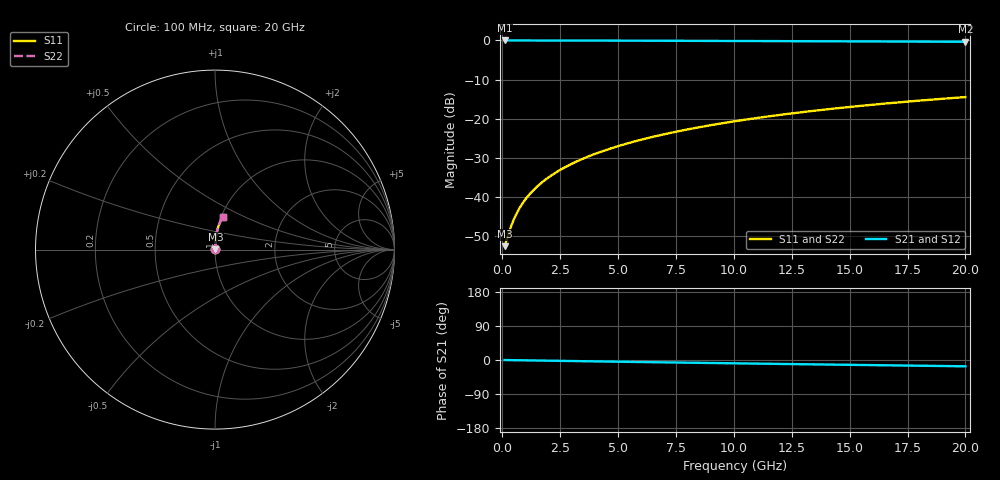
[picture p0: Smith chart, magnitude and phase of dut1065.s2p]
! Touchstone file exported from HFSS 2024.1.0
!  File:  C:/UserFiles/LocalFiles/RDL_TSV_Batchsim/temp_RDL_bottom_1065_1780052567.aedt
!  Generated:  07:05:33 PM May 29, 2026
!  Design:  RDL_bottom
!  Project:  temp_RDL_bottom_1065_1780052567
!  Setup:  Setup1
!  Solution:  Sweep
! Variables:
!  dtsv = 10.80580581um
!  hbump = 3um
!  htsv = 67.66um
!  ldown = 206.34um
!  lrdl = 100um
!  p = 40
!  p1 = 40.29um
!  rhole = 1um
!  t = 450um
!  tdown = 2.26um
!  trdl = 3.915915916um
!  wdown = 17.84um
!  wrdl = 20um
# GHz S MA R 50.000000
! Terminal data exported
! Port[1] = RDL1_T1
! Port[2] = RDL1_T2
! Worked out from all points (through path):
!   200 points, 100 MHz to 20 GHz, reference 50 ohm
!   highest |S21| = -0.02 dB at 100 MHz (marker M1); lowest = -0.4 dB at 20 GHz (marker M2)
!   group delay of S21, straight-line fit = 2.3 ps
!   lowest |S11| = -52.6 dB at 100 MHz (marker M3), VSWR 1.00, Z = 50.2 + j0.0951 ohm
!   |S11| at or under -10 dB: start of sweep to end of sweep
!   |S22| runs from -52.6 to -14.5 dB; largest |S21 - S12| = 4.4e-15
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0.1  0.002342 23.9  0.9979 -0.1  0.9979 -0.1  0.002342 23.9
! Gamma 0 0 0 0
! Port Impedance 50 0 50 0
0.4  0.004358 58.5  0.9977 -0.4  0.9977 -0.4  0.004358 58.5
0.5  0.005165 63.2  0.9976 -0.5  0.9976 -0.5  0.005165 63.2
0.6  0.005983 66.5  0.9975 -0.6  0.9975 -0.6  0.005983 66.5
0.7  0.006808 69.1  0.9975 -0.7  0.9975 -0.7  0.006808 69.1
0.9  0.008465 72.8  0.9973 -0.8  0.9973 -0.8  0.008465 72.8
1.2  0.01097 76.3  0.9971 -1.1  0.9971 -1.1  0.01097 76.3
1.4  0.01265 78.0  0.997 -1.3  0.997 -1.3  0.01265 78.0
1.7  0.0152 79.9  0.9967 -1.6  0.9967 -1.6  0.0152 79.9
2.2  0.01949 82.0  0.9963 -2.0  0.9963 -2.0  0.01949 82.0
2.8  0.02472 83.5  0.9957 -2.6  0.9957 -2.6  0.02472 83.5
3.5  0.0309 84.6  0.9949 -3.2  0.9949 -3.2  0.0309 84.6
4.2  0.03719 85.3  0.9939 -3.8  0.9939 -3.8  0.03719 85.3
5  0.04448 85.7  0.9927 -4.5  0.9927 -4.5  0.04448 85.7
5.9  0.05282 85.8  0.9911 -5.3  0.9911 -5.3  0.05282 85.8
6.8  0.0613 85.8  0.9894 -6.1  0.9894 -6.1  0.06129 85.7
8.4  0.07662 85.2  0.9862 -7.4  0.9862 -7.4  0.07661 85.2
10.1  0.09313 84.3  0.9826 -8.8  0.9826 -8.8  0.09313 84.3
11.7  0.1088 83.3  0.9791 -10.1  0.9791 -10.1  0.1088 83.3
13.4  0.1254 82.0  0.9752 -11.5  0.9752 -11.5  0.1254 82.0
16.7  0.1574 79.4  0.9675 -14.1  0.9675 -14.1  0.1574 79.4
20  0.1886 76.6  0.9594 -16.6  0.9594 -16.6  0.1886 76.6
